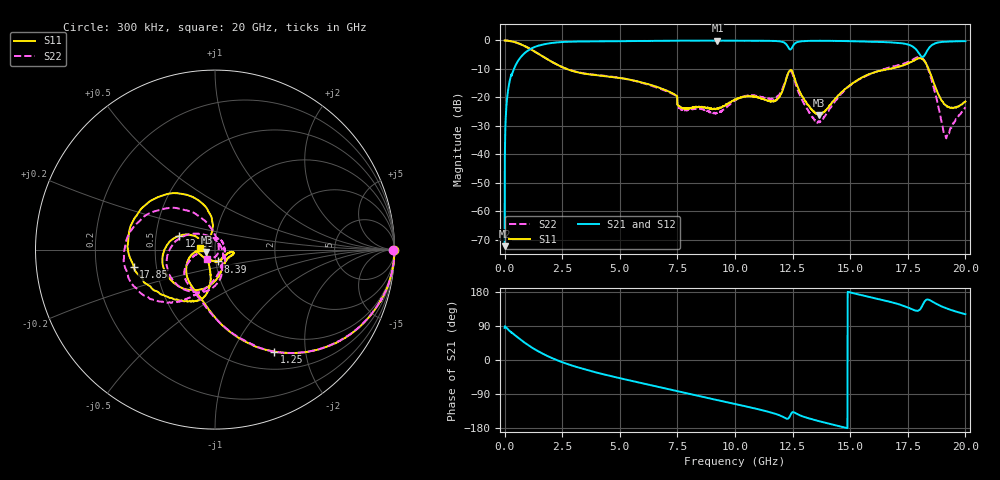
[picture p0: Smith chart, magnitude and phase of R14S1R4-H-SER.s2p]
!{R14S1R4}
!Johanson Technology Inc.
!www.johansontechnology.com
!Test Board Conditions:
!Substrate Type  RO4350B
!Substrate Thickness  20 mil
!Substrate Dk  3.66
!TL Type: GCPW
!TL Trace Width  36 mil
!TL Gap  12 mil
!Electrode orientation  Horizontal
!DUT TOPOLOGY	SERIES
!Mounting Pad LxW  26x36 mil
! Created Wed Nov 25 17:33:21 2020
! 2 Port Network Data from SP1.SP block
! freq  magS11  angS11  magS21  angS21  magS12  angS12  magS22  angS22
# khz S ma R 50
! decimated to every 10th point (10 MHz spacing) of the original 1 MHz Johanson file; values unchanged
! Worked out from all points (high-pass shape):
!   2001 points, 300 kHz to 20 GHz, reference 50 ohm
!   highest |S21| = -0.05 dB at 9.24 GHz (marker M1); lowest = -72.2 dB at 300 kHz (marker M2)
!   |S21| within 3 dB of the highest: 1.11 GHz to 12.37 GHz (11.26 GHz wide, 167 % of centre); 12.43 GHz to 17.85 GHz (5.417 GHz wide, 35.8 % of centre)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
!   lowest |S11| = -26.1 dB at 13.66 GHz (marker M3), VSWR 1.10, Z = 45.4 - j1.2 ohm
!   |S11| at or under -10 dB: 2.693 GHz to 16.69 GHz (14 GHz wide, 144 % of centre); 18.4 GHz to end of sweep
!   |S22| runs from -34.4 to 0.0 dB; largest |S21 - S12| = 0.015
!   S11 on the Smith chart (normalised r, x): 300 kHz: open; 1.25 GHz: 0.74, -1.47; 8.39 GHz: 1.02, -0.14; 12.59 GHz: 0.66, +0.10; 17.85 GHz: 0.37, -0.09; 20 GHz: 0.84, +0.02
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300  0.9954 -0.0  0.0002451 84.7  0.0002459 91.5  0.9943 -0.0
110300  0.994 -6.7  0.09841 83.2  0.09878 83.2  0.995 -6.6
220300  0.9802 -13.3  0.1942 76.5  0.1948 76.5  0.9798 -13.2
1250300  0.6577 -59.8  0.752 30.4  0.7514 30.3  0.6586 -59.7
2130300  0.405 -86.6  0.9113 3.1  0.9122 3.1  0.4037 -86.8
3340300  0.2669 -110.7  0.9593 -22.3  0.9602 -22.4  0.2692 -113.4
6670300  0.15 -162.2  0.9842 -71.0  0.9837 -70.9  0.146 -158.1
7630300  0.06832 -126.8  0.9924 -84.0  0.9935 -84.0  0.06329 140.2
8390300  0.06794 -76.6  0.9921 -94.5  0.9926 -94.4  0.06416 69.5
9240300  0.06344 -33.9  0.9937 -105.9  0.9914 -106.0  0.05423 1.0
1.00003e7  0.09248 -8.4  0.9897 -116.1  0.9886 -116.1  0.08857 -50.5
1.17303e7  0.08854 -46.2  0.979 -141.6  0.9803 -141.5  0.09742 -67.5
1.22903e7  0.2548 -117.2  0.7845 -155.0  0.7897 -154.8  0.2532 -110.0
1.25903e7  0.2151 159.6  0.8788 -138.9  0.8807 -139.0  0.196 158.5
1.33403e7  0.06228 163.4  0.9828 -156.4  0.9841 -156.3  0.04562 73.9
1.36603e7  0.04942 -164.5  0.9826 -161.4  0.9841 -161.4  0.03768 21.5
1.50303e7  0.1686 -98.2  0.9725 177.8  0.9725 177.7  0.1659 -90.8
1.66703e7  0.3121 -113.9  0.9318 154.3  0.9227 153.9  0.3347 -122.0
1.78503e7  0.4638 -168.1  0.7024 130.2  0.6909 129.9  0.4935 -155.0
1.83503e7  0.352 119.0  0.6678 159.7  0.6642 160.1  0.3417 137.2
1.91403e7  0.07352 115.4  0.9514 137.1  0.9517 137.3  0.02096 7.4
2e7  0.0847 172.4  0.9719 120.7  0.9696 120.7  0.0674 -128.7
